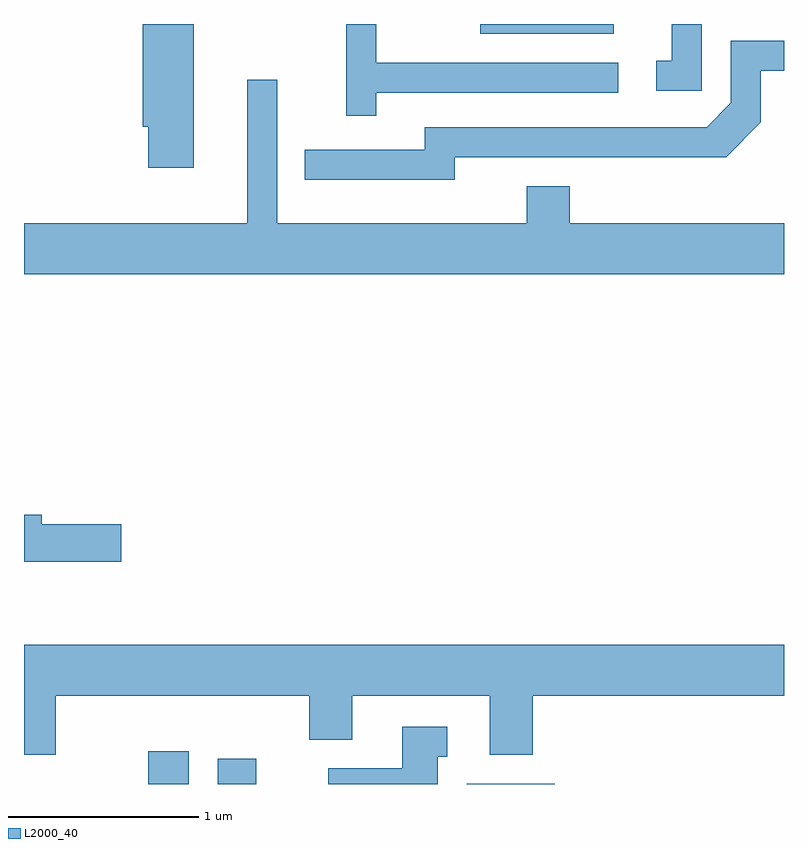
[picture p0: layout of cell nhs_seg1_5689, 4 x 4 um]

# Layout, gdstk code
import gdstk
lib = gdstk.Library(unit=1e-6, precision=1e-09)
def R(c, l, rs):  # rectangles x0, y0, x1, y1
    for r in rs: c.add(gdstk.rectangle(r[:2], r[2:], *l))
def P(c, l, *ps):  # polygons
    for p in ps: c.add(gdstk.Polygon(p, *l))
L2000_40 = (2000, 40)

nhs_seg1_5689 = lib.new_cell('nhs_seg1_5689')
R(nhs_seg1_5689, L2000_40, [(356.266,965.712,356.479,965.884), (356.631,965.712,356.834,965.844), (357.941,965.712,358.404,965.714), (358.013,969.661,358.714,969.712)])
P(nhs_seg1_5689, L2000_40, [(356.504,969.712),(356.236,969.712),(356.236,969.171),(356.266,969.171),(356.266,968.956),(356.504,968.956)],
  [(359.179,969.712),(359.021,969.712),(359.021,969.519),(358.938,969.519),(358.938,969.361),(359.179,969.361)],
  [(357.464,969.351),(358.738,969.351),(358.738,969.509),(357.464,969.509),(357.464,969.712),(357.306,969.712),(357.306,969.228),(357.464,969.228)],
  [(357.879,969.011),(359.307,969.011),(359.489,969.194),(359.489,969.466),(359.611,969.466),(359.611,969.624),(359.331,969.624),(359.331,969.297),(359.204,969.169),(357.721,969.169),(357.721,969.049),(357.088,969.049),(357.088,968.891),(357.879,968.891)],
  [(359.611,968.664),(358.484,968.664),(358.484,968.859),(358.256,968.859),(358.256,968.664),(356.944,968.664),(356.944,969.418),(356.786,969.418),(356.786,968.664),(355.611,968.664),(355.611,968.396),(359.611,968.396)],
  [(356.124,967.079),(355.704,967.079),(355.704,967.129),(355.611,967.129),(355.611,966.881),(356.124,966.881)],
  [(355.779,966.176),(357.111,966.176),(357.111,965.946),(357.339,965.946),(357.339,966.176),(358.061,966.176),(358.061,965.866),(358.289,965.866),(358.289,966.176),(359.611,966.176),(359.611,966.444),(355.611,966.444),(355.611,965.866),(355.779,965.866)],
  [(357.789,965.856),(357.838,965.856),(357.838,966.014),(357.601,966.014),(357.601,965.794),(357.211,965.794),(357.211,965.712),(357.789,965.712)])

lib.write_gds('nhs_seg1_5689.gds')
